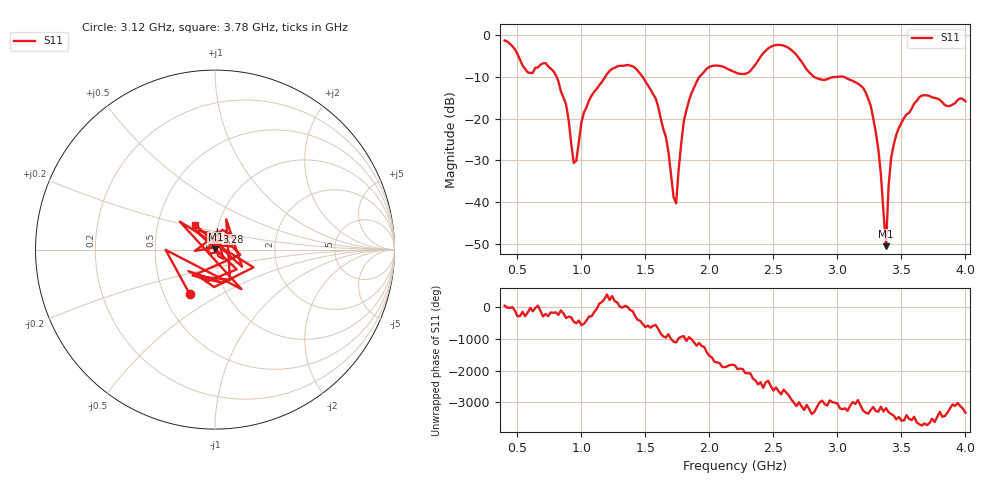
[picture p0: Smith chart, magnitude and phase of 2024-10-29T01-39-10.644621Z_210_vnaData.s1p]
!Created with skrf (http://scikit-rf.org).
# Hz S RI R 50.0
!freq ReS11 ImS11
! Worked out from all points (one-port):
!   181 points, 400 MHz to 4 GHz, reference 50 ohm
!   lowest |S11| = -50.6 dB at 3.38 GHz (marker M1), VSWR 1.01, Z = 50.2 + j0.223 ohm
!   |S11| at or under -10 dB: 806.8 MHz to 1.185 GHz (378.1 MHz wide, 38 % of centre); 1.479 GHz to 1.919 GHz (440.1 MHz wide, 25.9 % of centre); 3.054 GHz to end of sweep (the widest 3 of 4)
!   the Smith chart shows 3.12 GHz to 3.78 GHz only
!   S11 on the Smith chart (normalised r, x): 3.12 GHz: 0.67, -0.36; 3.28 GHz: 1.00, +0.20; 3.78 GHz: 0.78, +0.22
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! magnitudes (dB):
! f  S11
! 400 MHz  -1.2
! 580 MHz  -8.9
! 720 MHz  -6.6
! 860 MHz  -14.9
! 940 MHz  -30.6
! 1.06 GHz  -15.5
! 1.3 GHz  -7.3
! 1.58 GHz  -15.1
! 1.66 GHz  -24.3
! 1.74 GHz  -40.3
! 1.76 GHz  -32.1
! 1.8 GHz  -20.6
! 1.92 GHz  -10.0
! 2.2 GHz  -8.8
! 2.5 GHz  -2.4
! 2.66 GHz  -4.0
! 2.82 GHz  -10.0
! 3.1 GHz  -10.7
! 3.12 GHz  -10.9
! 3.22 GHz  -13.6
! 3.28 GHz  -19.9
! 3.34 GHz  -33.4
! 3.38 GHz  -50.6
! 3.4 GHz  -36.1
! 3.42 GHz  -29.4
! 3.56 GHz  -18.6
! 3.78 GHz  -15.1
! 4 GHz  -15.8
